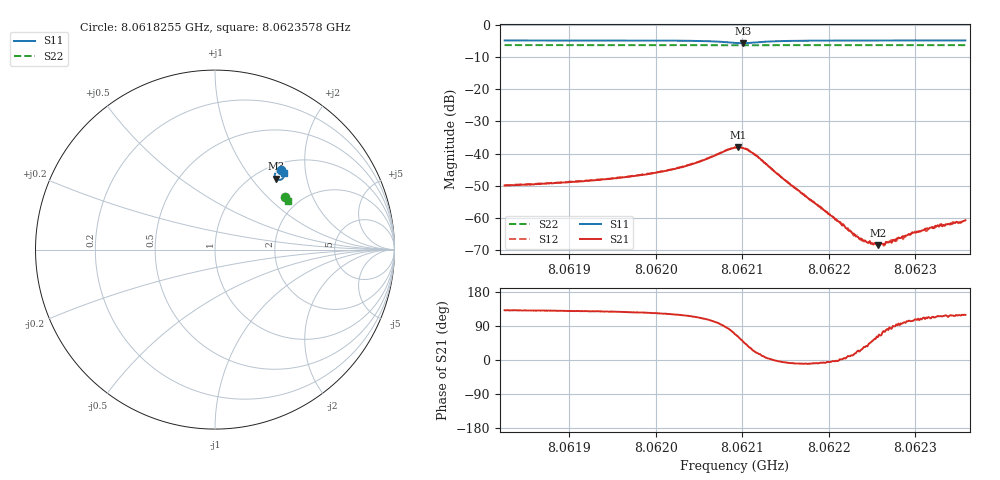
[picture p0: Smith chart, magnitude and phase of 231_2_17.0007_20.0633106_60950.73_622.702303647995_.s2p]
#  HZ  S  RI  R  50.00
! Rohde & Schwarz Vector Network Analyzer
! Rohde-Schwarz,ZNB20-2Port,1311601062101988,3.16
! Created: UTC 3/20/2024, 11:02:22 PM
! freq[Hz]  re:S11  im:S11  re:S21  im:S21  re:S12  im:S12  re:S22  im:S22
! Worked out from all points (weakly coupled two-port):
!   401 points, 8.0618255 GHz to 8.0623578 GHz, reference 50 ohm
!   highest |S21| = -38.11 dB at 8.0620956 GHz (marker M1); lowest = -68.6 dB at 8.0622567 GHz (marker M2)
!   lowest |S11| = -5.6 dB at 8.062101 GHz (marker M3), VSWR 3.18, Z = 61.5 + j66.9 ohm
!   |S11| at or under -10 dB: nowhere
!   |S22| runs from -6.3 to -6.2 dB; largest |S21 - S12| = 0.00099
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8.06182548e9  0.3655 0.445  -0.0021 0.00239  -0.00195 0.00253  0.3875 0.2956
8.06191464e9  0.372 0.439  -0.00235 0.00287  -0.00215 0.00304  0.3906 0.2912
8.06196787e9  0.3765 0.434  -0.00259 0.00349  -0.00239 0.00368  0.3925 0.2883
8.0620038e9  0.3801 0.429  -0.00279 0.00433  -0.00256 0.00449  0.3937 0.2865
8.0620424e9  0.384 0.4186  -0.00284 0.00621  -0.00253 0.00647  0.3949 0.2842
8.06209164e9  0.357 0.3882  0.00466 0.0115  0.0052 0.0113  0.3947 0.2811
8.06209563e9  0.3494 0.3898  0.0061 0.0108  0.00682 0.0105  0.3946 0.2812
8.06210095e9  0.3402 0.3957  0.00799 0.00919  0.00856 0.00867  0.3944 0.2812
8.06211559e9  0.3338 0.4206  0.00883 0.00324  0.00908 0.00285  0.3949 0.2817
8.06214753e9  0.3543 0.4392  0.00402 -0.000395  0.00403 -0.000664  0.3973 0.2807
8.0621808e9  0.3662 0.4387  0.00178 -0.000285  0.00176 -0.000429  0.399 0.2789
8.06223403e9  0.3754 0.4349  0.000454 0.00021  0.000478 0.000167  0.4007 0.2762
8.06223935e9  0.3762 0.4345  0.000382 0.000227  0.000401 0.000187  0.4009 0.2761
8.06224601e9  0.3768 0.4341  0.000303 0.000275  0.000322 0.000251  0.4012 0.2754
8.06225665e9  0.378 0.4333  0.000185 0.000323  0.0002 0.000301  0.4015 0.275
8.06226198e9  0.3785 0.4329  0.000117 0.000374  0.000156 0.000368  0.4016 0.2748
8.06226996e9  0.3794 0.4325  2.78e-05 0.000419  8.11e-05 0.000414  0.4019 0.2744
8.06229524e9  0.3817 0.4308  -0.000123 0.000559  -9.25e-05 0.00055  0.4029 0.273
8.06231121e9  0.383 0.4297  -0.000209 0.000642  -0.000176 0.000632  0.4033 0.2723
8.06231787e9  0.3835 0.4294  -0.000238 0.000662  -0.000258 0.000668  0.4036 0.2718
8.06234448e9  0.3856 0.4278  -0.000375 0.000765  -0.000358 0.000774  0.4044 0.2705
8.06235779e9  0.3864 0.4272  -0.000445 0.0008  -0.000386 0.000804  0.405 0.2698
